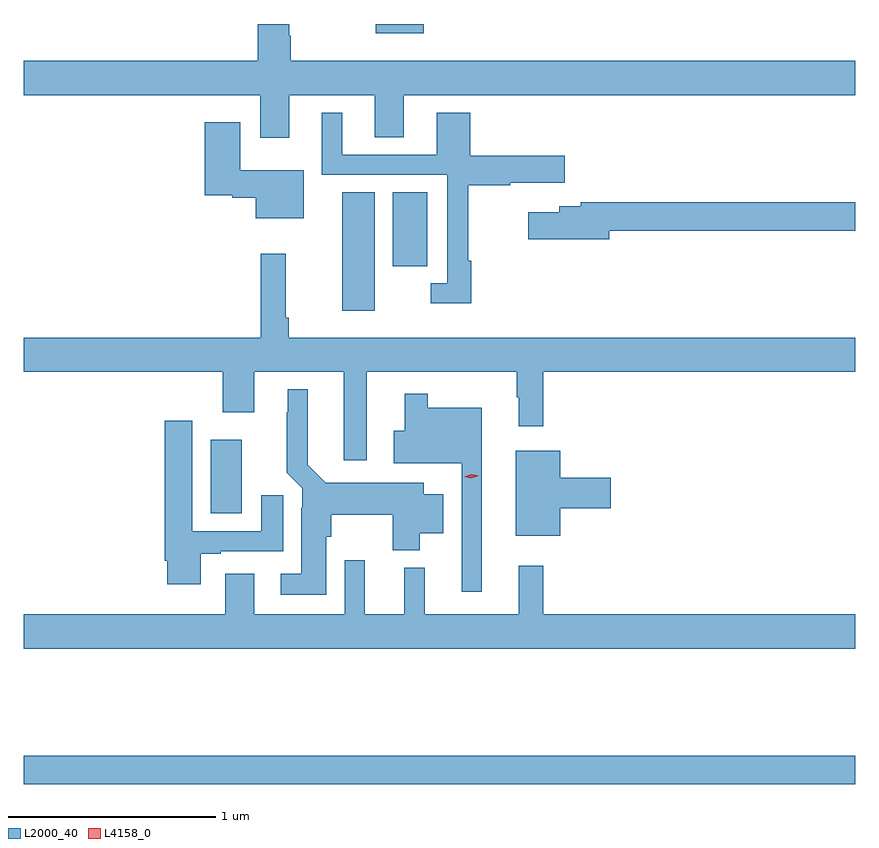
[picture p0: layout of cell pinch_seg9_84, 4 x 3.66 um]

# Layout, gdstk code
import gdstk
lib = gdstk.Library(unit=1e-6, precision=1e-09)
def R(c, l, rs):  # rectangles x0, y0, x1, y1
    for r in rs: c.add(gdstk.rectangle(r[:2], r[2:], *l))
def P(c, l, *ps):  # polygons
    for p in ps: c.add(gdstk.Polygon(p, *l))
L2000_40 = (2000, 40)
L4158_0 = (4158, 0)

pinch_seg9_84 = lib.new_cell('pinch_seg9_84')
R(pinch_seg9_84, L2000_40, [(1021.16,1175.788,1025.16,1175.924), (1022.06,1177.09,1022.209,1177.444), (1022.693,1178.067,1022.848,1178.636), (1022.936,1178.28,1023.1,1178.636), (1022.853,1179.401,1023.083,1179.446)])
P(pinch_seg9_84, L2000_40, [(1022.437,1179.104),(1022.849,1179.104),(1022.849,1178.902),(1022.989,1178.902),(1022.989,1179.104),(1025.16,1179.104),(1025.16,1179.268),(1022.445,1179.268),(1022.445,1179.389),(1022.437,1179.389),(1022.437,1179.446),(1022.285,1179.446),(1022.285,1179.268),(1021.16,1179.268),(1021.16,1179.104),(1022.297,1179.104),(1022.297,1178.898),(1022.437,1178.898)],
  [(1023.314,1178.306),(1023.299,1178.306),(1023.299,1178.669),(1023.5,1178.669),(1023.5,1178.681),(1023.763,1178.681),(1023.763,1178.811),(1023.308,1178.811),(1023.308,1179.019),(1023.146,1179.019),(1023.146,1178.817),(1022.692,1178.817),(1022.692,1179.019),(1022.594,1179.019),(1022.594,1178.721),(1023.198,1178.721),(1023.198,1178.199),(1023.117,1178.199),(1023.117,1178.102),(1023.314,1178.102)],
  [(1022.506,1178.743),(1022.2,1178.743),(1022.2,1178.974),(1022.03,1178.974),(1022.03,1178.621),(1022.163,1178.621),(1022.163,1178.609),(1022.276,1178.609),(1022.276,1178.51),(1022.506,1178.51)],
  [(1023.976,1178.452),(1025.16,1178.452),(1025.16,1178.588),(1023.841,1178.588),(1023.841,1178.569),(1023.737,1178.569),(1023.737,1178.539),(1023.588,1178.539),(1023.588,1178.41),(1023.976,1178.41)],
  [(1022.809,1177.772),(1023.531,1177.772),(1023.531,1177.649),(1023.542,1177.649),(1023.542,1177.509),(1023.659,1177.509),(1023.659,1177.772),(1025.16,1177.772),(1025.16,1177.936),(1022.435,1177.936),(1022.435,1178.032),(1022.42,1178.032),(1022.42,1178.341),(1022.299,1178.341),(1022.299,1177.936),(1021.16,1177.936),(1021.16,1177.772),(1022.117,1177.772),(1022.117,1177.578),(1022.269,1177.578),(1022.269,1177.772),(1022.699,1177.772),(1022.699,1177.347),(1022.809,1177.347)],
  [(1022.614,1176.978),(1022.64,1176.978),(1022.64,1177.085),(1022.935,1177.085),(1022.935,1176.914),(1023.064,1176.914),(1023.064,1176.995),(1023.178,1176.995),(1023.178,1177.183),(1023.084,1177.183),(1023.084,1177.237),(1022.613,1177.237),(1022.527,1177.324),(1022.527,1177.687),(1022.429,1177.687),(1022.429,1177.577),(1022.425,1177.577),(1022.425,1177.286),(1022.499,1177.212),(1022.499,1177.118),(1022.495,1177.118),(1022.495,1176.799),(1022.397,1176.799),(1022.397,1176.698),(1022.614,1176.698)],
  [(1023.364,1177.6),(1023.103,1177.6),(1023.103,1177.666),(1022.993,1177.666),(1022.993,1177.489),(1022.94,1177.489),(1022.94,1177.331),(1023.267,1177.331),(1023.267,1176.714),(1023.364,1176.714)],
  [(1022.011,1176.897),(1022.107,1176.897),(1022.107,1176.909),(1022.407,1176.909),(1022.407,1177.177),(1022.303,1177.177),(1022.303,1177.005),(1021.969,1177.005),(1021.969,1177.537),(1021.838,1177.537),(1021.838,1176.862),(1021.85,1176.862),(1021.85,1176.75),(1022.011,1176.75)],
  [(1023.742,1177.115),(1023.985,1177.115),(1023.985,1177.262),(1023.742,1177.262),(1023.742,1177.393),(1023.527,1177.393),(1023.527,1176.983),(1023.742,1176.983)],
  [(1025.16,1176.604),(1023.659,1176.604),(1023.659,1176.838),(1023.542,1176.838),(1023.542,1176.604),(1023.089,1176.604),(1023.089,1176.829),(1022.99,1176.829),(1022.99,1176.604),(1022.801,1176.604),(1022.801,1176.865),(1022.703,1176.865),(1022.703,1176.604),(1022.269,1176.604),(1022.269,1176.799),(1022.129,1176.799),(1022.129,1176.604),(1021.16,1176.604),(1021.16,1176.44),(1025.16,1176.44)])
P(pinch_seg9_84, L4158_0, [(1023.314,1177.259),(1023.278,1177.267),(1023.277,1177.267),(1023.278,1177.267),(1023.312,1177.279),(1023.348,1177.272),(1023.348,1177.271),(1023.348,1177.271)])

lib.write_gds('pinch_seg9_84.gds')
